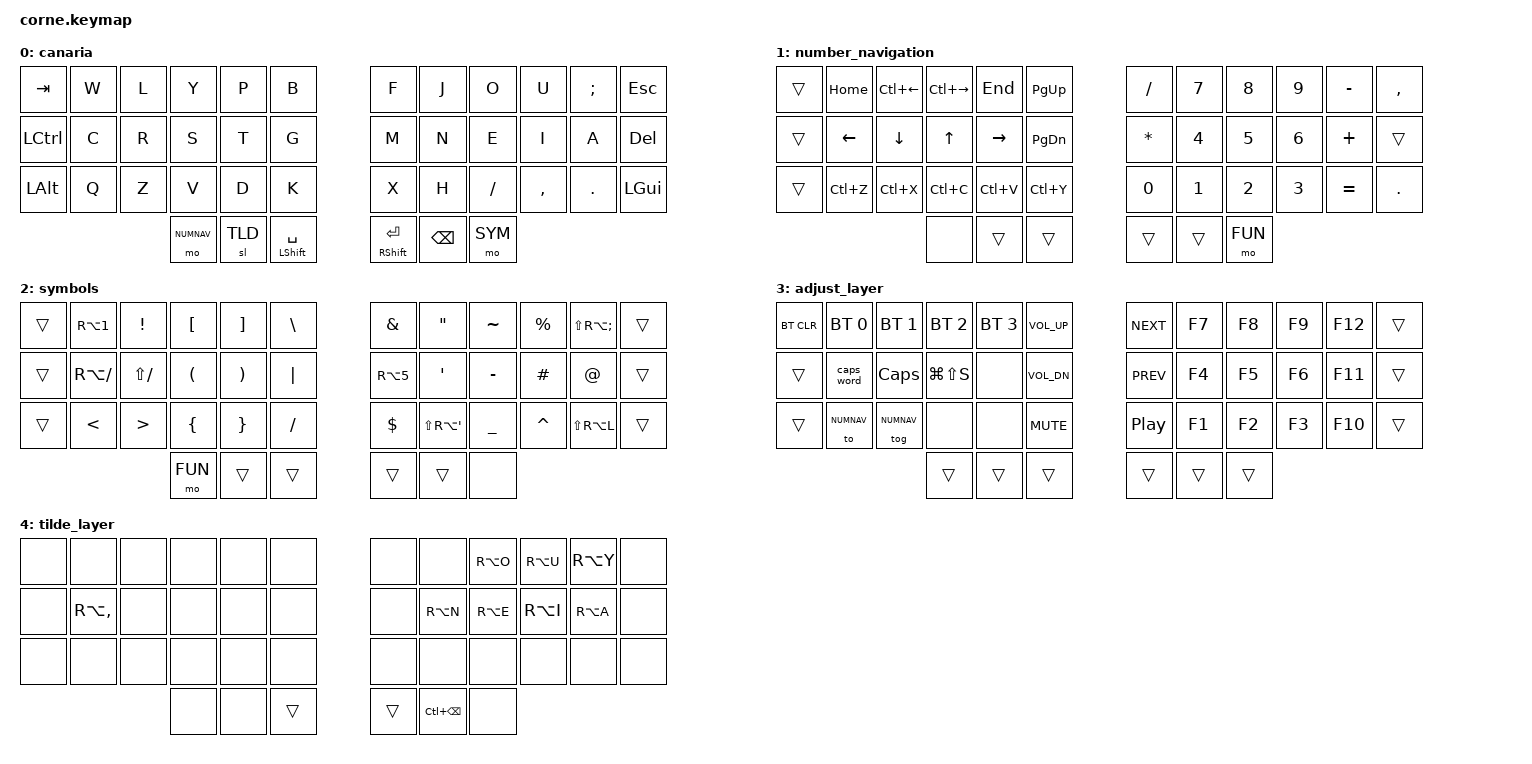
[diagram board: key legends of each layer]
/*
 * Copyright (c) 2020 The ZMK Contributors
 *
 * SPDX-License-Identifier: MIT
 */

#include <behaviors.dtsi>
#include <dt-bindings/zmk/keys.h>
#include <dt-bindings/zmk/bt.h>

// Layer Definitions
#define CANARIA 0
#define NUMNAV 1
#define SYM 2
#define FUN 3
#define TLD 4

// Behavior configuration
&mt {
    tapping-term-ms = <200>;
    quick_tap_ms = <0>;
    flavor = "tap-preferred";
};
&lt {
    tapping-term-ms = <200>;
    quick_tap_ms = <0>;
    flavor = "tap-preferred";
};
&sk {
    release-after-ms = <500>;
    quick-release;
};
&sl {
    release-after-ms = <500>;
};

&caps_word {
    continue-list = <UNDERSCORE MINUS DOT COMMA LEFT RIGHT BACKSPACE>;
};

/ {
        keymap {
                compatible = "zmk,keymap";

                canaria {			
// ----------------------------------------------------------------------------------
// | TAB  |  W  |  L  |  Y  |  P  |  B  |     |  F  |  J   |  O   |  U  |  ;  | ESC |
// | CTRL |  C  |  R  |  S  |  T  |  G  |     |  M  |  N   |  E   |  I  |  A  | DEL |
// | ALT  |  Q  |  Z  |  V  |  D  |  K  |     |  X  |  H   |  /   |  ,  |  .  | GUI |
//       | NUMNAV/FUN | TLD | SFT/SPACE |     | SFT/ENTER | BKSP | SYM/FUN |

                        bindings = <
   &kp TAB   &kp W &kp L &kp Y &kp P &kp B   &kp F &kp J  &kp O    &kp U     &kp SEMI   &kp ESC
   &kp LCTRL &kp C &kp R &kp S &kp T &kp G   &kp M &kp N  &kp E    &kp I     &kp A     &kp DEL
   &kp LALT  &kp Q &kp Z &kp V &kp D &kp K   &kp X &kp H  &kp FSLH &kp COMMA &kp DOT   &kp LGUI
        &mo NUMNAV &sl TLD &mt LSHFT SPACE   &mt RSHFT ENTER &kp BSPC &mo SYM
                        >;
                };
				
				number_navigation {
// ----------------------------------------------------------------------------------------
// | TAB  | HOME | LWORD | RWORD | END   | PGUP |     |  /  |  7  |  8  |  9  |  -  |  ,  |
// | CTRL | LEFT | UP    | DOWN  | RIGHT | PGDN |     |  *  |  4  |  5  |  6  |  +  | DEL |
// | ALT  | UNDO | CUT   | COPY  | PASTE | REDO |     |  0  |  1  |  2  |  3  |  =  |  .  |

                        bindings = <
	&trans	&kp HOME  &kp LC(LEFT) &kp LC(RIGHT) &kp END   &kp PG_UP	&kp SLASH	&kp N7	&kp N8	&kp N9	&kp MINUS	&kp COMMA
	&trans	&kp LEFT  &kp DOWN     &kp UP 		 &kp RIGHT &kp PG_DN 	&kp STAR	&kp N4	&kp N5	&kp N6	&kp PLUS	&trans	
	&trans	&kp LC(Z) &kp LC(X)	   &kp LC(C)	 &kp LC(V) &kp LC(Y)	&kp N0		&kp N1	&kp N2	&kp N3	&kp EQUAL	&kp DOT
                                              &none &trans   &trans    &trans   &trans    &mo FUN
                        >;
                };
				
                symbols {
// ----------------------------------------------------------------------------------
// 
// | TAB  |  ¡  |  !  |  [  |  ]  |  \  |       |  &  |  "  |  ~  |  %  |  º  |     |
// | CTRL |  ¿  |  ?  |  (  |  )  |  |  |       |  €  |  '  |  -  |  #  |  @  | DEL |
// | ALT  |  <  |  >  |  {  |  }  |  /  |       |  $  |  ¨  |  _  |  ^  |  Ø  |     |

                        bindings = <
   &trans	&kp RA(N1)	  &kp EXCL 		&kp LBKT &kp RBKT &kp BSLH	&kp AMPS	&kp DQT			&kp TILDE &kp PRCNT	&kp LS(RA(SEMI)) &trans	
   &trans	&kp RA(SLASH) &kp LS(SLASH)	&kp LPAR &kp RPAR &kp PIPE	&kp RA(N5)	&kp SQT			&kp MINUS &kp HASH	&kp AT			 &trans	
   &trans	&kp LT		  &kp GT	 	&kp LBRC &kp RBRC &kp SLASH	&kp DOLLAR	&kp LS(RA(SQT))	&kp UNDER &kp CARET	&kp LS(RA(L))	 &trans	   
							&mo FUN 	&trans	&trans		&trans  &trans 	&none
                        >;
                };

				adjust_layer {			
// -----------------------------------------------------------------------------------------
// | BTCLR | BT0   | BT1   | BT2  | BT3 | VOL_UP |     | NEXT | F7 | F8 | F9 | F12 |  |
// |       | CWORD | CLOCK | SNIP |     | VOL_DN |     | PREV | F4 | F5 | F6 | F11 |  |
// |       | LAY1  | LAY1  |      |     | MUTE   |     | PLAY | F1 | F2 | F3 | F10 |  |

                        bindings = <
   &bt BT_CLR &bt BT_SEL 0	&bt BT_SEL 1 &bt BT_SEL 2 &bt BT_SEL 3	&kp C_VOL_UP		&kp C_NEXT	&kp F7	&kp F8	&kp F9	&kp F12	&trans	
   &trans 	  &caps_word	&kp CAPS	 &kp LG(LS(S)) &none		&kp C_VOL_DN		&kp C_PREV	&kp F4	&kp F5	&kp F6	&kp F11	&trans	
   &trans 	  &to NUMNAV	&tog NUMNAV	 &none		  &none		 	&kp C_MUTE			&kp C_PP	&kp F1	&kp F2	&kp F3	&kp F10	&trans	   
										 &trans 	  &trans 		&trans				&trans  	&trans 	&trans
                        >;
                };
				
				tilde_layer {			
// -----------------------------------------------------------------------------------------
// |   |   |   |   |   |   |      |   |   | Ó | Ú | Ü |   |
// |   | Ç |   |   |   |   |      |   | Ñ | É | Í | Á |   |
// |   |   |   |   |   |   |      |   |   |   |   |   |   |
//             |   |   |   |      |   | WORD_BACKSPACE |   |

                        bindings = <
   &none &none &none &none &none &none   		&none &none		&kp RA(O) &kp RA(U) &kp RA(Y) &none
   &none &kp RA(COMMA) &none &none &none &none  &none &kp RA(N) &kp RA(E) &kp RA(I) &kp RA(A) &none
   &none &none &none &none &none &none   		&none &none    	&none  	  &none  	&none     &none
						&none &none &trans  &trans &kp LC(BSPC)    &none
                        >;
                };
 
        };
};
